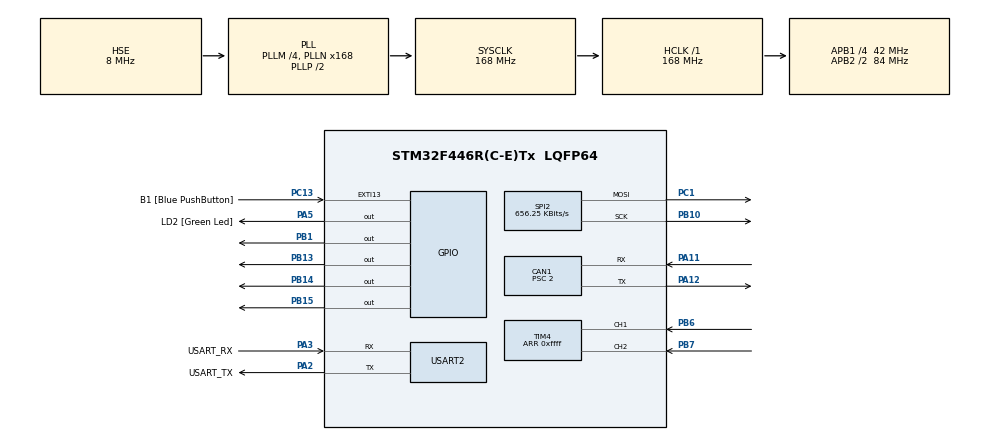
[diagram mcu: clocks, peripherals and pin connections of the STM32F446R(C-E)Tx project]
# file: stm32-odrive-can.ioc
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Mcu.Family=STM32F4
FREERTOS.Queues01=canCommandsQueue,8,uint16_t,0,Dynamic,NULL,NULL;canRxBuffer,8,CanMessage_t,0,Dynamic,NULL,NULL
NVIC.CAN1_RX1_IRQn=true\:5\:0\:false\:false\:true\:true\:true\:true
CAN1.NART=DISABLE
PH0-OSC_IN.Signal=RCC_OSC_IN
RCC.CortexFreq_Value=168000000
FREERTOS.BinarySemaphores01=canInterruptBinarySem,Dynamic,NULL;displayBinarySem,Dynamic,NULL
SPI2.VirtualType=VM_MASTER
PB10.Mode=TX_Only_Simplex_Unidirect_Master
CAN1.AWUM=DISABLE
Dma.USART2_TX.1.MemInc=DMA_MINC_ENABLE
PA14.GPIO_Label=TCK
TIM4.EncoderMode=TIM_ENCODERMODE_TI12
PA11.Mode=Master
PC13.GPIO_Label=B1 [Blue PushButton]
PB13.Signal=GPIO_Output
PB15.Signal=GPIO_Output
RCC.SYSCLKSource=RCC_SYSCLKSOURCE_PLLCLK
ProjectManager.StackSize=0x400
VP_FREERTOS_VS_CMSIS_V2.Mode=CMSIS_V2
PA12.Signal=CAN1_TX
SPI2.CLKPolarity=SPI_POLARITY_HIGH
Dma.USART2_RX.0.Priority=DMA_PRIORITY_LOW
NVIC.CAN1_TX_IRQn=true\:5\:0\:false\:false\:true\:true\:true\:true
Dma.USART2_RX.0.PeriphDataAlignment=DMA_PDATAALIGN_BYTE
RCC.HCLKFreq_Value=168000000
RCC.APB2TimFreq_Value=168000000
TIM3.Period=500
PB6.Signal=S_TIM4_CH1
Dma.USART2_TX.1.Mode=DMA_NORMAL
NVIC.CAN1_SCE_IRQn=true\:5\:0\:false\:false\:true\:true\:true\:true
RCC.AHBFreq_Value=168000000
SPI2.BaudRatePrescaler=SPI_BAUDRATEPRESCALER_64
PH0-OSC_IN.Mode=HSE-External-Oscillator
NVIC.EXTI15_10_IRQn=true\:5\:0\:false\:false\:true\:true\:true\:true
RCC.HSE_VALUE=8000000
NVIC.TIM8_TRG_COM_TIM14_IRQn=true\:0\:0\:false\:false\:true\:false\:false\:true
Dma.USART2_RX.0.MemDataAlignment=DMA_MDATAALIGN_BYTE
PC14-OSC32_IN.Mode=LSE-External-Oscillator
PA14.Mode=Serial_Wire
Dma.USART2_TX.1.Instance=DMA1_Stream6
TIM3.Prescaler=2100
Dma.USART2_RX.0.Instance=DMA1_Stream5
SPI2.CalculateBaudRate=656.25 KBits/s
SH.S_TIM4_CH2.0=TIM4_CH2,Encoder_Interface
PB7.Signal=S_TIM4_CH2
NVIC.SPI2_IRQn=true\:5\:0\:false\:false\:true\:true\:true\:true
TIM4.Period=0xffff
VP_SYS_VS_tim14.Mode=TIM14
RCC.FLatency-AdvancedSettings=FLASH_LATENCY_5
PH1-OSC_OUT.Mode=HSE-External-Oscillator
CAN1.Prescaler=2
Mcu.Package=LQFP64
PB14.GPIO_PuPd=GPIO_NOPULL
PB1.Signal=GPIO_Output
NVIC.TimeBase=TIM8_TRG_COM_TIM14_IRQn
SPI2.Mode=SPI_MODE_MASTER
Dma.USART2_RX.0.PeriphInc=DMA_PINC_DISABLE
USART2.VirtualMode=VM_ASYNC
Dma.USART2_RX.0.FIFOMode=DMA_FIFOMODE_DISABLE
PA2.GPIO_Label=USART_TX
NVIC.TimeBaseIP=TIM14
SPI2.CLKPhase=SPI_PHASE_2EDGE
TIM4.IC1Filter=4
RCC.APB2CLKDivider=RCC_HCLK_DIV2
SH.S_TIM4_CH1.0=TIM4_CH1,Encoder_Interface
Dma.Request1=USART2_TX
RCC.APB1TimFreq_Value=84000000
SPI2.Direction=SPI_DIRECTION_2LINES
NVIC.DMA1_Stream6_IRQn=true\:5\:0\:false\:false\:true\:true\:false\:true
Dma.Request0=USART2_RX
VP_TIM3_VS_ClockSourceINT.Mode=Internal
PA3.Signal=USART2_RX
CAN1.CalculateTimeQuantum=47.61904761904762
PB3.GPIO_Label=SWO
RCC.PLLSourceVirtual=RCC_PLLSOURCE_HSE
PC15-OSC32_OUT.Mode=LSE-External-Oscillator
Dma.USART2_TX.1.Priority=DMA_PRIORITY_LOW
FREERTOS.Tasks01=controlTask,32,128,controlTaskStart,Default,NULL,Dynamic,NULL,NULL;displayTask,8,128,diplayTaskStart,Default,NULL,Dynamic,NULL,NULL;canTask,24,256,canTaskStart,Default,NULL,Dynamic,NULL,NULL
Dma.USART2_TX.1.FIFOMode=DMA_FIFOMODE_DISABLE
PC13.Signal=GPXTI13
Dma.USART2_RX.0.Direction=DMA_PERIPH_TO_MEMORY
TIM4.IC2Filter=4
RCC.APB1CLKDivider=RCC_HCLK_DIV4
PC14-OSC32_IN.Signal=RCC_OSC32_IN
Dma.USART2_TX.1.PeriphDataAlignment=DMA_PDATAALIGN_BYTE
NVIC.USART2_IRQn=true\:5\:0\:false\:false\:true\:true\:true\:true
Dma.USART2_RX.0.Mode=DMA_NORMAL
PA13.Signal=SYS_JTMS-SWDIO
PA3.Mode=Asynchronous
CAN1.BS2=CAN_BS2_4TQ
CAN1.BS1=CAN_BS1_16TQ
ProjectManager.TargetToolchain=Makefile
NVIC.DMA1_Stream5_IRQn=true\:5\:0\:false\:false\:true\:true\:false\:true
RCC.USBFreq_Value=168000000
PC15-OSC32_OUT.Signal=RCC_OSC32_OUT
CAN1.ABOM=DISABLE
PB10.Signal=SPI2_SCK
PB14.Signal=GPIO_Output
PA5.Signal=GPIO_Output
Dma.USART2_TX.1.PeriphInc=DMA_PINC_DISABLE
board=NUCLEO-F446RE
RCC.VCOOutputFreq_Value=336000000
NVIC.TIM3_IRQn=true\:5\:0\:false\:false\:true\:true\:true\:true
Dma.USART2_TX.1.Direction=DMA_MEMORY_TO_PERIPH
RCC.APB2Freq_Value=84000000
PH1-OSC_OUT.Signal=RCC_OSC_OUT
PA13.Mode=Serial_Wire
Mcu.Name=STM32F446R(C-E)Tx
Dma.USART2_RX.0.MemInc=DMA_MINC_ENABLE
PA2.Signal=USART2_TX
PA13.GPIO_Label=TMS
CAN1.SJW=CAN_SJW_4TQ
RCC.48MHZClocksFreq_Value=84000000
PB3.Signal=SYS_JTDO-SWO
RCC.SYSCLKFreq_VALUE=168000000
PA12.Mode=Master
PA5.GPIO_Label=LD2 [Green Led]
PC13.GPIO_ModeDefaultEXTI=GPIO_MODE_IT_FALLING
PA11.Signal=CAN1_RX
PA14.Signal=SYS_JTCK-SWCLK
ProjectManager.HeapSize=0x200
FREERTOS.Timers01=canSendTimer,canSendTimerCallback,osTimerPeriodic,Default,NULL,Dynamic,NULL
RCC.HSI_VALUE=16000000
NVIC.PriorityGroup=NVIC_PRIORITYGROUP_4
RCC.PLLM=4
RCC.PLLN=168
PA2.Mode=Asynchronous
Dma.USART2_TX.1.MemDataAlignment=DMA_MDATAALIGN_BYTE
RCC.APB1Freq_Value=42000000
PC1.Signal=SPI2_MOSI
NVIC.CAN1_RX0_IRQn=true\:5\:0\:false\:false\:true\:true\:true\:true
PC1.Mode=TX_Only_Simplex_Unidirect_Master
PA3.GPIO_Label=USART_RX

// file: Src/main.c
/* USER CODE BEGIN Header */
/**
  ******************************************************************************
  * @file           : main.c
  * @brief          : Main program body
  ******************************************************************************
  * @attention
  *
  * <h2><center>&copy; Copyright (c) 2020 STMicroelectronics.
  * All rights reserved.</center></h2>
  *
  * This software component is licensed by ST under BSD 3-Clause license,
  * the "License"; You may not use this file except in compliance with the
  * License. You may obtain a copy of the License at:
  *                        opensource.org/licenses/BSD-3-Clause
  *
  ******************************************************************************
  */
/* USER CODE END Header */

#include "main.h"
#include "cmsis_os.h"
#include "can.h"
#include "dma.h"
#include "spi.h"
#include "tim.h"
#include "usart.h"
#include "gpio.h"

/* USER CODE BEGIN Includes */
#include "odrive_can.h"

/* USER CODE END Includes */

/* USER CODE BEGIN PD */
//#define AXIS0_NODE_ID (3 << 5)
//#define AXIS1_NODE_ID (1 << 5)

/* USER CODE END PD */
#define TXBUFFERSIZE                     (COUNTOF(aTxBuffer) - 1)
#define COUNTOF(__BUFFER__)   (sizeof(__BUFFER__) / sizeof(*(__BUFFER__)))

/* USER CODE BEGIN PV */
CAN_TxHeaderTypeDef pTxHeaderGetVBus;
CAN_TxHeaderTypeDef pTxHeaderEncCount;
CAN_RxHeaderTypeDef pRxHeader;
uint32_t TxMailbox;
// uint8_t tData[8] = {0,0,0,0,0,0,0,0}; //declare byte to be transmitted //declare a receive byte
uint8_t tData[0]; //declare byte to be transmitted //declare a receive byte
uint8_t rData[8];
union {
  float f;
  unsigned long ul;
} u;

HAL_StatusTypeDef status;

CAN_FilterTypeDef pFilter;

volatile uint8_t flag1 = 0;

/* USER CODE END PV */

void SystemClock_Config(void);
void MX_FREERTOS_Init(void);
/* USER CODE BEGIN PFP */
int _write(int file, char *ptr, int len);

/* USER CODE END PFP */

/* USER CODE BEGIN 0 TDU */
/* Buffer used for transmission */
uint8_t aTxBuffer[] = " ****UART_TwoBoards_ComIT****  ****UART_TwoBoards_ComIT****  ****UART_TwoBoards_ComIT**** ";

//UART_HandleTypeDef UartHandle;
extern UART_HandleTypeDef huart2;
   /**USART2 GPIO Configuration
    PA2     ------> USART2_TX
    PA3     ------> USART2_RX  */
int UartReady;

/* USER CODE END 0 TDU */

int main(void)
{

  /* MCU Configuration--------------------------------------------------------*/

  /* Reset of all peripherals, Initializes the Flash interface and the Systick. */
  HAL_Init();

  /* Configure the system clock */
  SystemClock_Config();

  /* Initialize all configured peripherals */
  MX_GPIO_Init();
  MX_DMA_Init();
  MX_CAN1_Init();
  MX_TIM3_Init();
  MX_USART2_UART_Init();
  MX_SPI2_Init();
  MX_TIM4_Init();
  /* USER CODE BEGIN 2 */

  odrive_can_init(AXIS_0);
/*tdu
  while(1)
  {
    HAL_GPIO_WritePin(GPIOB, GPIO_PIN_9, RESET);
    osDelay(1000);
    HAL_GPIO_WritePin(GPIOB, GPIO_PIN_9, SET);
    osDelay(1000);

  }
// tdu */
  /* While the UART in reception process, user can transmit data through
     "aTxBuffer" buffer */
  if(HAL_UART_Transmit_IT(&huart2, (uint8_t*)aTxBuffer, TXBUFFERSIZE)!= HAL_OK)
  {
    Error_Handler();
  }
  // end tdu

  /* USER CODE END 2 */

  /* Init scheduler */
  osKernelInitialize();  /* Call init function for freertos objects (in freertos.c) */
  MX_FREERTOS_Init();

  /* Start scheduler */
  osKernelStart();

  /* We should never get here as control is now taken by the scheduler */
  /* Infinite loop */
  while (1)
  {

  }
}

void SystemClock_Config(void)
{
  RCC_OscInitTypeDef RCC_OscInitStruct = {0};
  RCC_ClkInitTypeDef RCC_ClkInitStruct = {0};

  /** Configure the main internal regulator output voltage
  */
  __HAL_RCC_PWR_CLK_ENABLE();
  __HAL_PWR_VOLTAGESCALING_CONFIG(PWR_REGULATOR_VOLTAGE_SCALE1);
  /** Initializes the CPU, AHB and APB busses clocks
  */
  RCC_OscInitStruct.OscillatorType = RCC_OSCILLATORTYPE_HSE;
  RCC_OscInitStruct.HSEState = RCC_HSE_ON;
  RCC_OscInitStruct.PLL.PLLState = RCC_PLL_ON;
  RCC_OscInitStruct.PLL.PLLSource = RCC_PLLSOURCE_HSE;
  RCC_OscInitStruct.PLL.PLLM = 4;
  RCC_OscInitStruct.PLL.PLLN = 168;
  RCC_OscInitStruct.PLL.PLLP = RCC_PLLP_DIV2;
  RCC_OscInitStruct.PLL.PLLQ = 2;
  RCC_OscInitStruct.PLL.PLLR = 2;
  if (HAL_RCC_OscConfig(&RCC_OscInitStruct) != HAL_OK)
  {
    Error_Handler();
  }
  /** Initializes the CPU, AHB and APB busses clocks
  */
  RCC_ClkInitStruct.ClockType = RCC_CLOCKTYPE_HCLK|RCC_CLOCKTYPE_SYSCLK
                              |RCC_CLOCKTYPE_PCLK1|RCC_CLOCKTYPE_PCLK2;
  RCC_ClkInitStruct.SYSCLKSource = RCC_SYSCLKSOURCE_PLLCLK;
  RCC_ClkInitStruct.AHBCLKDivider = RCC_SYSCLK_DIV1;
  RCC_ClkInitStruct.APB1CLKDivider = RCC_HCLK_DIV4;
  RCC_ClkInitStruct.APB2CLKDivider = RCC_HCLK_DIV2;

  if (HAL_RCC_ClockConfig(&RCC_ClkInitStruct, FLASH_LATENCY_5) != HAL_OK)
  {
    Error_Handler();
  }
}

/* USER CODE BEGIN 4 */
int _write(int file, char *ptr, int len)
{
  /* Implement your write code here, this is used by puts and printf for example */
  int i = 0;
  for (i = 0; i < len; i++)
    ITM_SendChar((*ptr++));
  return len;
}

/* USER CODE END 4 */

 /**
  * @brief  Period elapsed callback in non blocking mode
  * @note   This function is called  when TIM14 interrupt took place, inside
  * HAL_TIM_IRQHandler(). It makes a direct call to HAL_IncTick() to increment
  * a global variable "uwTick" used as application time base.
  * @param  htim : TIM handle
  * @retval None
  */
void HAL_TIM_PeriodElapsedCallback(TIM_HandleTypeDef *htim)
{
  if (htim->Instance == TIM14) {
    HAL_IncTick();
  }
}
// tdu
/**
  * @brief  Tx Transfer completed callback
  * @param  UartHandle: UART handle.
  * @note   This example shows a simple way to report end of IT Tx transfer, and
  *         you can add your own implementation.
  * @retval None
  */
void HAL_UART_TxCpltCallback(UART_HandleTypeDef *UartHandle)
{
  /* Set transmission flag: transfer complete */
  UartReady = SET;

  HAL_GPIO_WritePin(GPIOB, GPIO_PIN_7, SET); //turn CN10.19 LED on

}

// tdu

void Error_Handler(void)
{
}

/************************ (C) COPYRIGHT STMicroelectronics *****END OF FILE****/

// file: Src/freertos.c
/* USER CODE BEGIN Header */
/**
  ******************************************************************************
  * File Name          : freertos.c
  * Description        : Code for freertos applications
  ******************************************************************************
  * @attention
  *
  * <h2><center>&copy; Copyright (c) 2020 STMicroelectronics.
  * All rights reserved.</center></h2>
  *
  * This software component is licensed by ST under Ultimate Liberty license
  * SLA0044, the "License"; You may not use this file except in compliance with
  * the License. You may obtain a copy of the License at:
  *                             www.st.com/SLA0044
  *
  ******************************************************************************
  */
/* USER CODE END Header */

#include <stdio.h> //tdu for printf ?

#include "FreeRTOS.h"
#include "task.h"
#include "main.h"
#include "cmsis_os.h"

/* USER CODE BEGIN Includes */
#include "display.h"
#include "odrive_can.h"

/* USER CODE END Includes */

/* USER CODE BEGIN Variables */
int pb7_state, pb7_led_count;
/* USER CODE END Variables */
/* Definitions for controlTask */
osThreadId_t controlTaskHandle;
const osThreadAttr_t controlTask_attributes = {
  .name = "controlTask",
  .priority = (osPriority_t) osPriorityAboveNormal,
  .stack_size = 128 * 4
};
/* Definitions for displayTask */
osThreadId_t displayTaskHandle;
const osThreadAttr_t displayTask_attributes = {
  .name = "displayTask",
  .priority = (osPriority_t) osPriorityLow,
  .stack_size = 128 * 4
};
/* Definitions for canTask */
osThreadId_t canTaskHandle;
const osThreadAttr_t canTask_attributes = {
  .name = "canTask",
  .priority = (osPriority_t) osPriorityNormal,
  .stack_size = 256 * 4
};
/* Definitions for canCommandsQueue */
osMessageQueueId_t canCommandsQueueHandle;
const osMessageQueueAttr_t canCommandsQueue_attributes = {
  .name = "canCommandsQueue"
};
/* Definitions for canRxBuffer */
osMessageQueueId_t canRxBufferHandle;
const osMessageQueueAttr_t canRxBuffer_attributes = {
  .name = "canRxBuffer"
};
/* Definitions for canSendTimer */
osTimerId_t canSendTimerHandle;
const osTimerAttr_t canSendTimer_attributes = {
  .name = "canSendTimer"
};
/* Definitions for canInterruptBinarySem */
osSemaphoreId_t canInterruptBinarySemHandle;
const osSemaphoreAttr_t canInterruptBinarySem_attributes = {
  .name = "canInterruptBinarySem"
};
/* Definitions for displayBinarySem */
osSemaphoreId_t displayBinarySemHandle;
const osSemaphoreAttr_t displayBinarySem_attributes = {
  .name = "displayBinarySem"
};

void controlTaskStart(void *argument);
void diplayTaskStart(void *argument);
void canTaskStart(void *argument);
void canSendTimerCallback(void *argument);

void MX_FREERTOS_Init(void); /* (MISRA C 2004 rule 8.1) */

void MX_FREERTOS_Init(void) {

  /* Create the semaphores(s) */
  /* creation of canInterruptBinarySem */
  canInterruptBinarySemHandle = osSemaphoreNew(1, 1, &canInterruptBinarySem_attributes);

  /* creation of displayBinarySem */
  displayBinarySemHandle = osSemaphoreNew(1, 1, &displayBinarySem_attributes);

  /* USER CODE BEGIN RTOS_SEMAPHORES */
  // Grab the semaphore so the diplay task won't update until released
  osSemaphoreAcquire(displayBinarySemHandle, 0);
  /* add semaphores, ... */
  /* USER CODE END RTOS_SEMAPHORES */

  /* Create the timer(s) */
  /* creation of canSendTimer */
  canSendTimerHandle = osTimerNew(canSendTimerCallback, osTimerPeriodic, NULL, &canSendTimer_attributes);

  /* USER CODE BEGIN RTOS_TIMERS */
  /* start timers, add new ones, ... */
  osTimerStart(canSendTimerHandle, 10);
  /* USER CODE END RTOS_TIMERS */

  /* Create the queue(s) */
  /* creation of canCommandsQueue */
  canCommandsQueueHandle = osMessageQueueNew (8, sizeof(uint16_t), &canCommandsQueue_attributes);

  /* creation of canRxBuffer */
  canRxBufferHandle = osMessageQueueNew (8, sizeof(CanMessage_t), &canRxBuffer_attributes);

  /* Create the thread(s) */
  /* creation of controlTask */
  controlTaskHandle = osThreadNew(controlTaskStart, NULL, &controlTask_attributes);

  /* creation of displayTask */
  displayTaskHandle = osThreadNew(diplayTaskStart, NULL, &displayTask_attributes);

  /* creation of canTask */
  canTaskHandle = osThreadNew(canTaskStart, NULL, &canTask_attributes);

}

void controlTaskStart(void *argument)
{
  /* USER CODE BEGIN controlTaskStart */
  // Adding display related task to start of the control task as it has higher priority
  display_init();
  odrive_can_write(AXIS_0, MSG_CLEAR_ERRORS);
  osDelay(1000);
//  odrive_set_axis0.requested_state = AXIS_STATE_FULL_CALIBRATION_SEQUENCE;
  odrive_set_axis0.requested_state = AXIS_STATE_ENCODER_INDEX_SEARCH; //tdu
  odrive_can_write(AXIS_0, MSG_SET_AXIS_REQUESTED_STATE);
  printf("search index \n");
  osDelay(100);
  while (odrive_get_axis0.axis_current_state != AXIS_STATE_IDLE)
  {
    osDelay(100);
  }
  odrive_set_axis0.requested_state = AXIS_STATE_CLOSED_LOOP_CONTROL;
  odrive_can_write(AXIS_0, MSG_SET_AXIS_REQUESTED_STATE);
  printf("close loop \n");

  /* Infinite loop */
  for (;;)
  {
    uint32_t count = osKernelGetTickCount();
    HAL_GPIO_WritePin(GPIOB, GPIO_PIN_7, RESET); //turn CN10.19 LED on

    //display_add_float_line("Ticks", count, 1);
    printf("ticks%d",count);
    uint32_t msg_count = osMessageQueueGetCount(canRxBufferHandle);
    printf("msg_count %d \n",msg_count); //tdu
    //display_add_float_line("MsgQ", msg_count, 2);
    // display_add_float_line("Vbus", odrive_state.vbus_voltage, 3);
    //display_add_float_line("Enc", odrive_get_axis0.encoder_pos_estimate, 4);
    printf("enc f %0.2f \n",odrive_get_axis0.encoder_pos_estimate);
    //display_add_float_line("State", odrive_get_axis0.axis_current_state, 5);
    printf("req state %d \n",odrive_get_axis0.axis_current_state);
    osSemaphoreRelease(displayBinarySemHandle);
    osDelay(1000);
    //--- motion loop start -- tdu
    // read in axis positions
    // pos PID
    // get next delta pos seg from trajec_gen
    // send new pos to CAN nodes
  }
  /* USER CODE END controlTaskStart */
}

void diplayTaskStart(void *argument)
{
  /* USER CODE BEGIN diplayTaskStart */
  /* Infinite loop */
  for (;;)
  {
    // Wait for another thread to release the semaphore which will call a display update
    osSemaphoreAcquire(displayBinarySemHandle, osWaitForever);
    display_update();

    if(pb7_led_count>2)
    {
      if(pb7_state==1){
        HAL_GPIO_WritePin(GPIOC, GPIO_PIN_7, SET); //turn CN10.19 LED on
        pb7_state=0;
      } else{
        HAL_GPIO_WritePin(GPIOC, GPIO_PIN_7, RESET); //turn CN10.19 LED on
        pb7_state=1;

      }
      pb7_led_count=0;
    }
    pb7_led_count++;
    //osDelay(1);
  }
  /* USER CODE END diplayTaskStart */
}

void canTaskStart(void *argument)
{
  /* USER CODE BEGIN canTaskStart */
  /* Infinite loop */
  for (;;)
  {
    CanMessage_t msg;
    osMessageQueueGet(canRxBufferHandle, &msg, NULL, osWaitForever);
    odrive_handle_msg(&msg);
  }
  /* USER CODE END canTaskStart */
}

/* canSendTimerCallback function */
void canSendTimerCallback(void *argument)
{
  /* USER CODE BEGIN canSendTimerCallback */
  odrive_can_write(AXIS_0, MSG_GET_ENCODER_ESTIMATES);

  /* USER CODE END canSendTimerCallback */
}

/************************ (C) COPYRIGHT STMicroelectronics *****END OF FILE****/
